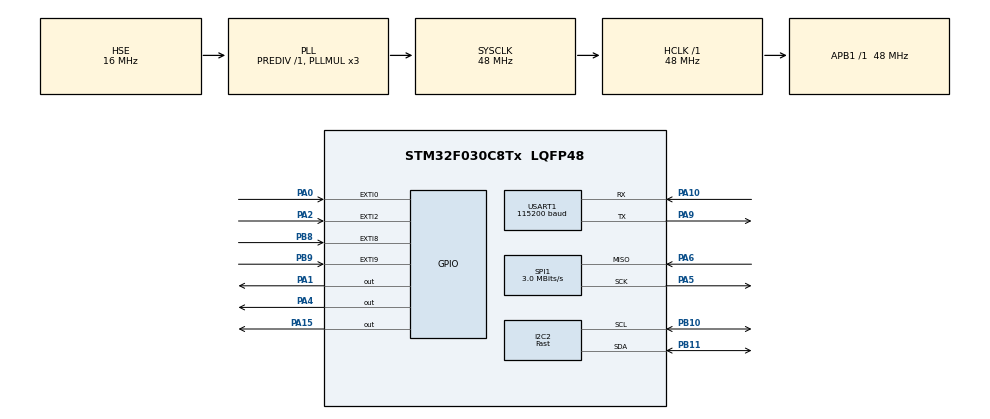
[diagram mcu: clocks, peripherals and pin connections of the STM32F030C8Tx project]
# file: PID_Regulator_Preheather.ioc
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Dma.Request0=USART1_TX
Dma.Request1=USART1_RX
Dma.USART1_RX.1.Direction=DMA_PERIPH_TO_MEMORY
Dma.USART1_RX.1.Instance=DMA1_Channel3
Dma.USART1_RX.1.MemDataAlignment=DMA_MDATAALIGN_BYTE
Dma.USART1_RX.1.MemInc=DMA_MINC_ENABLE
Dma.USART1_RX.1.Mode=DMA_NORMAL
Dma.USART1_RX.1.PeriphDataAlignment=DMA_PDATAALIGN_BYTE
Dma.USART1_RX.1.PeriphInc=DMA_PINC_DISABLE
Dma.USART1_RX.1.Priority=DMA_PRIORITY_LOW
Dma.USART1_TX.0.Direction=DMA_MEMORY_TO_PERIPH
Dma.USART1_TX.0.Instance=DMA1_Channel2
Dma.USART1_TX.0.MemDataAlignment=DMA_MDATAALIGN_BYTE
Dma.USART1_TX.0.MemInc=DMA_MINC_ENABLE
Dma.USART1_TX.0.Mode=DMA_NORMAL
Dma.USART1_TX.0.PeriphDataAlignment=DMA_PDATAALIGN_BYTE
Dma.USART1_TX.0.PeriphInc=DMA_PINC_DISABLE
Dma.USART1_TX.0.Priority=DMA_PRIORITY_LOW
I2C2.I2C_Speed_Mode=I2C_Fast
I2C2.Timing=0x0090194B
Mcu.Family=STM32F0
Mcu.Name=STM32F030C8Tx
Mcu.Package=LQFP48
NVIC.DMA1_Channel2_3_IRQn=true\:0\:0\:false\:false\:true\:false\:true\:true
NVIC.EXTI0_1_IRQn=true\:3\:0\:true\:false\:true\:true\:true\:true
NVIC.EXTI2_3_IRQn=true\:3\:0\:true\:false\:true\:true\:true\:true
NVIC.EXTI4_15_IRQn=true\:3\:0\:true\:false\:true\:true\:true\:true
NVIC.TIM1_BRK_UP_TRG_COM_IRQn=true\:2\:0\:true\:false\:true\:true\:true\:true
NVIC.USART1_IRQn=true\:0\:0\:true\:false\:true\:true\:true\:true
PA0.GPIO_ModeDefaultEXTI=GPIO_MODE_IT_RISING_FALLING
PA0.Signal=GPXTI0
PA1.Signal=GPIO_Output
PA10.Mode=Asynchronous
PA10.Signal=USART1_RX
PA13.Mode=Serial_Wire
PA13.Signal=SYS_SWDIO
PA14.Mode=Serial_Wire
PA14.Signal=SYS_SWCLK
PA15.Signal=GPIO_Output
PA2.GPIO_ModeDefaultEXTI=GPIO_MODE_IT_FALLING
PA2.GPIO_PuPd=GPIO_NOPULL
PA2.Signal=GPXTI2
PA4.Signal=GPIO_Output
PA5.Mode=RX_Only_Simplex_Unidirect_Master
PA5.Signal=SPI1_SCK
PA6.Mode=RX_Only_Simplex_Unidirect_Master
PA6.Signal=SPI1_MISO
PA9.Mode=Asynchronous
PA9.Signal=USART1_TX
PB10.Mode=I2C
PB10.Signal=I2C2_SCL
PB11.Mode=I2C
PB11.Signal=I2C2_SDA
PB8.GPIO_ModeDefaultEXTI=GPIO_MODE_IT_FALLING
PB8.Signal=GPXTI8
PB9.GPIO_ModeDefaultEXTI=GPIO_MODE_IT_FALLING
PB9.Signal=GPXTI9
PF0-OSC_IN.Mode=HSE-External-Oscillator
PF0-OSC_IN.Signal=RCC_OSC_IN
PF1-OSC_OUT.Mode=HSE-External-Oscillator
PF1-OSC_OUT.Signal=RCC_OSC_OUT
ProjectManager.HeapSize=0x200
ProjectManager.StackSize=0x400
ProjectManager.TargetToolchain=STM32CubeIDE
RCC.AHBFreq_Value=48000000
RCC.APB1Freq_Value=48000000
RCC.APB1TimFreq_Value=48000000
RCC.HCLKFreq_Value=48000000
RCC.HSE_VALUE=16000000
RCC.PLLMUL=RCC_PLL_MUL3
RCC.PLLSourceVirtual=RCC_PLLSOURCE_HSE
RCC.SYSCLKFreq_VALUE=48000000
RCC.SYSCLKSource=RCC_SYSCLKSOURCE_PLLCLK
SPI1.BaudRatePrescaler=SPI_BAUDRATEPRESCALER_16
SPI1.CalculateBaudRate=3.0 MBits/s
SPI1.DataSize=SPI_DATASIZE_8BIT
SPI1.Direction=SPI_DIRECTION_2LINES_RXONLY
SPI1.Mode=SPI_MODE_MASTER
SPI1.VirtualType=VM_MASTER
TIM1.AutoReloadPreload=TIM_AUTORELOAD_PRELOAD_ENABLE
TIM1.CounterMode=TIM_COUNTERMODE_UP
TIM1.Period=4799
USART1.BaudRate=115200
USART1.VirtualMode-Asynchronous=VM_ASYNC
VP_TIM1_VS_ClockSourceINT.Mode=Internal
board=custom

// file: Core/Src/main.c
/* USER CODE BEGIN Header */
/**
 ******************************************************************************
 * @file           : main.c
 * @brief          : Main program body
 ******************************************************************************
 * @attention
 *
 * Copyright (c) 2025 STMicroelectronics.
 * All rights reserved.
 *
 * This software is licensed under terms that can be found in the LICENSE file
 * in the root directory of this software component.
 * If no LICENSE file comes with this software, it is provided AS-IS.
 *
 ******************************************************************************
 */
/* USER CODE END Header */
#include "main.h"

/* USER CODE BEGIN Includes */
#include "MAX31855.h"
#include "stdio.h"
#include "ssd1306.h"
#include "ssd1306_fonts.h"
#include <stdbool.h>
#include <string.h>
#include <math.h>
/* USER CODE END Includes */

I2C_HandleTypeDef hi2c2;

SPI_HandleTypeDef hspi1;

TIM_HandleTypeDef htim1;

UART_HandleTypeDef huart1;
DMA_HandleTypeDef hdma_usart1_tx;
DMA_HandleTypeDef hdma_usart1_rx;

/* USER CODE BEGIN PV */
// variables
int pomoc = 0;
int maximum_firing_delay = 99;
/*Later in the code you will se that the maximum delay after the zero detection
 * is 7400. Why? Well, we know that the 220V AC voltage has a frequency of around 50-60HZ so
 * the period is between 20ms and 16ms, depending on the country. We control the firing
 * delay each half period so each 10ms or 8 ms. To amke sure we wont pass thsoe 10ms, I've made tests
 * and the 7400us or 7.4ms was a good value. Measure your frequency and chande that value later */
//////////////////////////////////////////////////////
int firing_delay = 100;
int last_Error = 0;
bool zero_cross_detected = false;
float real_temperature_heater = 0;
float real_temperature_element = 0;
float real_temperature_heater_last = 0;
float real_temperature_element_last = 0;

// Temperature validation limits
#define MIN_VALID_TEMP -50.0f // Minimum reasonable temperature
#define MAX_VALID_TEMP 500.0f // Maximum reasonable temperature
#define MAX_TEMP_CHANGE 50.0f // Maximum change per reading
uint8_t bad_reading_counter_ht = 0;
uint8_t bad_reading_counter_ic = 0;
#define MAX_BAD_READINGS 5 // Max consecutive bad readings before using anyway

float set_temperature = 99;
float selected_temperature = 0;
int temp_select = 1;
int mode_select = 1;
int menu = 0;
float power = 0;
float power_last = 100;
float pid_output_max = 100.0;
float pid_output_min = 0.0;
float i_term_max = 50.0;
bool button = false;
char temp[10];
int sens_error_HT = 0;
int sens_error_IC = 0;
int sens_error = 0;
int turn_CW_CCW = 0; // 1 left 2 right
int menu_last = 100;
bool sub_menu = false;
int sub_menu_pos = 0;
int sub_menu_pos_last = 100;
int set_temperature_last = 100;
bool temp_set = false;
uint8_t PC_TX[20];
uint8_t PC_RX[20];
bool TX_state = true;
// PID variables
float PID_error = 0;
float previous_error = 0;
float elapsedTime, timePrev, time_stamp, time_stamp_off;
volatile uint32_t Time = 0;
volatile uint32_t uart_time = 0;
volatile uint32_t temp1_time = 0;
volatile uint32_t temp2_time = 0;
int PID_value = 0;
volatile uint8_t set = 0;
// PID constants //TODO do ustawienia
float kp = 4.5;
float ki = 0.0571; // 0.2836; //0.00006598; // 0.6598;
float kd = 0; // 248.85; //54.5985;
int PID_p = 0;
float PID_i = 0;
float PID_d = 0;

/* USER CODE END PV */

void SystemClock_Config(void);
static void MX_GPIO_Init(void);
static void MX_DMA_Init(void);
static void MX_I2C2_Init(void);
static void MX_SPI1_Init(void);
static void MX_TIM1_Init(void);
static void MX_USART1_UART_Init(void);
/* USER CODE BEGIN PFP */
bool IsTemperatureValid(float new_temp,float last_temp);
/* USER CODE END PFP */

/* USER CODE BEGIN 0 */
/**
 * @brief Validates if temperature reading is reasonable
 * @param new_temp New temperature reading
 * @param last_temp Last valid temperature reading
 * @return true if reading is valid, false if suspicious
 */
bool IsTemperatureValid(float new_temp,float last_temp){
	// Check if temperature is within physical limits
	if(new_temp < MIN_VALID_TEMP || new_temp > MAX_VALID_TEMP){
		return false;
	}

	// If we have a previous reading, check for excessive change
	if(last_temp > 0.1f){ // Only check if we have a meaningful previous reading
		float temp_change = fabsf(new_temp - last_temp);
		if(temp_change > MAX_TEMP_CHANGE){
			return false;
		}
	}

	return true;
}
/* USER CODE END 0 */

int main(void){

	/* MCU Configuration--------------------------------------------------------*/

	/* Reset of all peripherals, Initializes the Flash interface and the Systick. */
	HAL_Init();

	/* Configure the system clock */
	SystemClock_Config();

	/* Initialize all configured peripherals */
	MX_GPIO_Init();
	MX_DMA_Init();
	MX_I2C2_Init();
	MX_SPI1_Init();
	MX_TIM1_Init();
	MX_USART1_UART_Init();
	/* USER CODE BEGIN 2 */
	HAL_TIM_Base_Start_IT(&htim1);
	ssd1306_Init();
	ssd1306_SetCursor(30,20);
	ssd1306_WriteString("LOGO",Font_16x26,White);
	ssd1306_UpdateScreen();
	HAL_Delay(1000);
	ssd1306_Fill(Black);
	ssd1306_UpdateScreen();
	HAL_TIM_Base_Start_IT(&htim1);
	HAL_UART_Receive_DMA(&huart1,PC_RX,2);
	/* USER CODE END 2 */

	/* Infinite loop */
	while(1){

		/* USER CODE BEGIN 3 */
		sens_error = 0;

		// Read heater temperature with validation
		float raw_temp_heater = Max31855_Read_Temp(1);
		sens_error_HT = Error;

		if(sens_error_HT == 0){
			if(IsTemperatureValid(raw_temp_heater,real_temperature_heater_last)){
				// Good reading - use it and reset bad counter
				real_temperature_heater = raw_temp_heater;
				bad_reading_counter_ht = 0;
			}
			else{
				// Bad reading - increment counter
				bad_reading_counter_ht++;
				// If too many consecutive bad readings, use it anyway (sensor might have moved to new range)
				if(bad_reading_counter_ht >= MAX_BAD_READINGS){
					real_temperature_heater = raw_temp_heater;
					bad_reading_counter_ht = 0;
				}
				// Otherwise keep using last good reading
			}
		}

		// Read element temperature with validation
		float raw_temp_element = Max31855_Read_Temp(2);
		sens_error_IC = Error;

		if(sens_error_IC == 0){
			if(IsTemperatureValid(raw_temp_element,real_temperature_element_last)){
				// Good reading - use it and reset bad counter
				real_temperature_element = raw_temp_element;
				bad_reading_counter_ic = 0;
			}
			else{
				// Bad reading - increment counter
				bad_reading_counter_ic++;
				// If too many consecutive bad readings, use it anyway
				if(bad_reading_counter_ic >= MAX_BAD_READINGS){
					real_temperature_element = raw_temp_element;
					bad_reading_counter_ic = 0;
				}
				// Otherwise keep using last good reading
			}
		}

		// Determine overall sensor error status
		if(sens_error_HT != 0){
			sens_error = sens_error_HT;
		}
		else{
			sens_error = sens_error_IC;
		}

		if(sens_error == 0 && last_Error != sens_error){
			menu_last = 100;
			ssd1306_Fill(Black);
			ssd1306_UpdateScreen();
			last_Error = sens_error;
		}
		else if(last_Error != sens_error && sens_error != 0){
			switch(sens_error){
				case 1:
					ssd1306_Fill(Black);
					ssd1306_UpdateScreen();
					ssd1306_SetCursor(20,5);
					ssd1306_WriteString("Error",Font_16x26,White);
					ssd1306_SetCursor(5,28);
					if(sens_error_IC != 0){
						ssd1306_WriteString("Sensor IC",Font_11x18,White);
					}
					else if(sens_error_HT != 0){
						ssd1306_WriteString("Sensor HEAT",Font_11x18,White);
					}
					ssd1306_SetCursor(15,48);
					ssd1306_WriteString("NOT CONNECTED",Font_7x10,White);
					ssd1306_UpdateScreen();
				break;
				case 2:
					ssd1306_Fill(Black);
					ssd1306_UpdateScreen();
					ssd1306_SetCursor(20,5);
					ssd1306_WriteString("Error",Font_16x26,White);
					ssd1306_SetCursor(5,28);
					if(sens_error_IC != 0){
						ssd1306_WriteString("Sensor IC",Font_11x18,White);
					}
					else if(sens_error_HT != 0){
						ssd1306_WriteString("Sensor HEAT",Font_11x18,White);
					}
					ssd1306_SetCursor(15,48);
					ssd1306_WriteString("SHORT TO GND",Font_7x10,White);
					ssd1306_UpdateScreen();
				break;
				case 4:
					ssd1306_Fill(Black);
					ssd1306_UpdateScreen();
					ssd1306_SetCursor(20,5);
					ssd1306_WriteString("Error",Font_16x26,White);
					ssd1306_SetCursor(15,28);
					if(sens_error_IC != 0){
						ssd1306_WriteString("Sensor IC",Font_11x18,White);
					}
					else if(sens_error_HT != 0){
						ssd1306_WriteString("Sensor HEAT",Font_11x18,White);
					}
					ssd1306_SetCursor(15,48);
					ssd1306_WriteString("SHORT TO VCC",Font_7x10,White);
					ssd1306_UpdateScreen();
				break;
				default:
				break;
			}
			last_Error = sens_error;
		}

		if(sens_error == 0){
			// Optimize temperature display - only update if values actually changed
			if(real_temperature_element_last != real_temperature_element || real_temperature_heater_last != real_temperature_heater || menu_last == 100) // Force update after error recovery
			{
				// Clear temperature area first to prevent artifacts
				ssd1306_FillRectangle(5,5,128,15,Black);

				ssd1306_SetCursor(5,5);
				ssd1306_WriteString("IC:",Font_7x10,White);
				sprintf(temp,"%.0f%s",real_temperature_element,(temp_select == 2) ? " X":"");
				ssd1306_SetCursor(27,5);
				ssd1306_WriteString(temp,Font_7x10,White);

				ssd1306_SetCursor(70,5);
				ssd1306_WriteString("HT:",Font_7x10,White);
				sprintf(temp,"%.0f%s",real_temperature_heater,(temp_select == 1) ? " X":"");
				ssd1306_SetCursor(92,5);
				ssd1306_WriteString(temp,Font_7x10,White);
				ssd1306_UpdateScreen();

				// Update last values
				real_temperature_element_last = real_temperature_element;
				real_temperature_heater_last = real_temperature_heater;
			}

			if(temp_set == 1){
				if(mode_select == 1){
					if(set_temperature != set_temperature_last){
						ssd1306_FillRectangle(54,15,75,25,Black);
						ssd1306_UpdateScreen();
						ssd1306_SetCursor(5,15);
						ssd1306_WriteString("Set:",Font_7x10,White);
						for(int i = 0; i < 9; i++){
							temp[i] = 0;
						}
						sprintf(temp,"%.0f Auto",set_temperature);
						ssd1306_SetCursor(34,15);
						ssd1306_WriteString(temp,Font_7x10,White);
						ssd1306_UpdateScreen();
					}
				}
				else if(mode_select == 2){
					if(power != power_last){
						ssd1306_FillRectangle(54,15,75,25,Black);
						ssd1306_UpdateScreen();
						ssd1306_SetCursor(5,15);
						ssd1306_WriteString("Set:",Font_7x10,White);
						for(int i = 0; i < 9; i++){
							temp[i] = 0;
						}
						sprintf(temp,"%.0f% Manual",power);
						ssd1306_SetCursor(34,15);
						ssd1306_WriteString(temp,Font_7x10,White);
						ssd1306_UpdateScreen();
					}
				}
			}
			else if(temp_set == 0){
				ssd1306_SetCursor(5,15);
				ssd1306_WriteString("Heater OFF",Font_7x10,White);
				ssd1306_UpdateScreen();
			}
			if(!sub_menu){
				if(turn_CW_CCW == 2){
					menu++;
					if(menu > 3){
						menu = 0;
					}
				}
				else if(turn_CW_CCW == 1){
					menu--;
					if(menu < 0){
						menu = 3;
					}
				}
				turn_CW_CCW = 0;
				if(menu_last != menu){
					switch(menu){
						case 0:
							ssd1306_FillRectangle(5,25,128,64,Black);
							ssd1306_UpdateScreen();
							ssd1306_SetCursor(5,25);
							ssd1306_WriteString("Source",Font_11x18,Black);
							ssd1306_SetCursor(5,45);
							ssd1306_WriteString("MAN/AUTO",Font_11x18,White);
							ssd1306_UpdateScreen();
						break;
						case 1:
							ssd1306_FillRectangle(5,25,128,64,Black);
							ssd1306_UpdateScreen();
							ssd1306_SetCursor(5,25);
							ssd1306_WriteString("MAN/AUTO",Font_11x18,Black);
							ssd1306_SetCursor(5,45);
							if(mode_select == 1){
								ssd1306_WriteString("Temperature",Font_11x18,White);
							}
							else if(mode_select == 2){
								ssd1306_WriteString("Power",Font_11x18,White);
							}
							ssd1306_UpdateScreen();
						break;
						case 2:
							ssd1306_FillRectangle(5,25,128,64,Black);
							ssd1306_UpdateScreen();
							ssd1306_SetCursor(5,25);
							if(mode_select == 1){
								ssd1306_WriteString("Temperature",Font_11x18,Black);
							}
							else if(mode_select == 2){
								ssd1306_WriteString("Power",Font_11x18,Black);
							}
							ssd1306_SetCursor(5,45);
							ssd1306_WriteString("Heat ON/OFF",Font_11x18,White);
							ssd1306_UpdateScreen();
						break;
						case 3:
							ssd1306_FillRectangle(5,25,128,64,Black);
							ssd1306_UpdateScreen();
							ssd1306_SetCursor(5,25);
							ssd1306_WriteString("Heat ON/OFF",Font_11x18,Black);
							ssd1306_SetCursor(5,45);
							ssd1306_WriteString("Source",Font_11x18,White);
							ssd1306_UpdateScreen();
						break;
						default:

						break;
					}
					menu_last = menu;
				}
				if(button == true){
					sub_menu = true;
					button = false;
				}
			}

			if(sub_menu){
				if(menu != 2){
					if(turn_CW_CCW == 2){
						sub_menu_pos++;
						if(sub_menu_pos > 1){
							sub_menu_pos = 0;
						}
					}
					else if(turn_CW_CCW == 1){
						sub_menu_pos--;
						if(sub_menu_pos < 0){
							sub_menu_pos = 1;
						}
					}
					turn_CW_CCW = 0;
				}
				if(sub_menu_pos_last != sub_menu_pos || set_temperature != set_temperature_last || (mode_select == 2 && power != power_last)){
					switch(menu){
						case 0:
							switch(sub_menu_pos){
								case 0:
									ssd1306_FillRectangle(5,25,128,64,Black);
									ssd1306_UpdateScreen();
									ssd1306_SetCursor(5,25);
									ssd1306_WriteString("Element",Font_11x18,Black);
									ssd1306_SetCursor(5,45);
									ssd1306_WriteString("Heater",Font_11x18,White);
									ssd1306_UpdateScreen();
								break;
								case 1:
									ssd1306_FillRectangle(5,25,128,64,Black);
									ssd1306_UpdateScreen();
									ssd1306_SetCursor(5,25);
									ssd1306_WriteString("Heater",Font_11x18,Black);
									ssd1306_SetCursor(5,45);
									ssd1306_WriteString("Element",Font_11x18,White);
									ssd1306_UpdateScreen();
								break;
								default:
								break;
							}
						break;
						case 1:
							switch(sub_menu_pos){
								case 0:
									ssd1306_FillRectangle(5,25,128,64,Black);
									ssd1306_UpdateScreen();
									ssd1306_SetCursor(5,25);
									ssd1306_WriteString("Manual",Font_11x18,Black);
									ssd1306_SetCursor(5,45);
									ssd1306_WriteString("Auto",Font_11x18,White);
									ssd1306_UpdateScreen();
								break;
								case 1:
									ssd1306_FillRectangle(5,25,128,64,Black);
									ssd1306_UpdateScreen();
									ssd1306_SetCursor(5,25);
									ssd1306_WriteString("Auto",Font_11x18,Black);
									ssd1306_SetCursor(5,45);
									ssd1306_WriteString("Manual",Font_11x18,White);
									ssd1306_UpdateScreen();
								break;
								default:
								break;
							}
						break;
						case 2:

							ssd1306_FillRectangle(5,25,128,64,Black);
							ssd1306_UpdateScreen();
							for(int i = 0; i < 9; i++){
								temp[i] = 0;
							}
							if(mode_select == 1){
								sprintf(temp,"%.0f  ",set_temperature);
								ssd1306_SetCursor(5,25);
								ssd1306_WriteString("Temp",Font_11x18,White);
								ssd1306_SetCursor(5,45);
								if(set_temperature < 100){
									ssd1306_WriteString("Off",Font_11x18,White);
								}
								else if(set_temperature >= 100){
									ssd1306_WriteString(temp,Font_11x18,Black);
								}
							}
							else if(mode_select == 2){
								sprintf(temp,"%.0f",power);
								ssd1306_SetCursor(5,25);
								ssd1306_WriteString("Power",Font_11x18,White);
								ssd1306_SetCursor(5,45);
								if(power <= 0){
									ssd1306_WriteString("Off",Font_11x18,White);
								}
								else if(power > 0){
									ssd1306_WriteString(temp,Font_11x18,Black);
								}
							}
							ssd1306_UpdateScreen();

						break;
						case 3:
							switch(sub_menu_pos){
								case 0:
									ssd1306_FillRectangle(5,25,128,64,Black);
									ssd1306_UpdateScreen();
									ssd1306_SetCursor(5,25);
									ssd1306_WriteString("Turn off?",Font_11x18,White);
									ssd1306_SetCursor(5,45);
									ssd1306_WriteString("Yes",Font_11x18,Black);
									ssd1306_UpdateScreen();
								break;
								case 1:
									ssd1306_FillRectangle(5,25,128,64,Black);
									ssd1306_UpdateScreen();
									ssd1306_SetCursor(5,25);
									ssd1306_WriteString("Turn off?",Font_11x18,White);
									ssd1306_SetCursor(5,45);
									ssd1306_WriteString("No",Font_11x18,Black);
									ssd1306_UpdateScreen();
								break;
								default:
								break;
							}
						break;
						default:

						break;
					}
					sub_menu_pos_last = sub_menu_pos;
					set_temperature_last = set_temperature;
					power_last = power;
				}
				if(menu == 2){
					if(mode_select == 1){
						if(turn_CW_CCW == 2){
							set_temperature++;
							if(set_temperature >= 400){
								set_temperature = 400;
							}
						}
						else if(turn_CW_CCW == 1){
							set_temperature--;
							if(set_temperature <= 99){
								set_temperature = 99;
							}
						}
						turn_CW_CCW = 0;
					}
					if(mode_select == 2){
						if(turn_CW_CCW == 2){
							power = power + 10;
							if(power >= 100){
								power = 100;
							}
						}
						else if(turn_CW_CCW == 1){
							power = power - 10;
							if(power <= 0){
								power = 0;
							}
						}
						turn_CW_CCW = 0;
					}
				}
				if(button == true){
					sub_menu = false;
					button = false;
					switch(menu){
						case 0:
							switch(sub_menu_pos){
								case 0:
									temp_select = 2;
								break;
								case 1:
									temp_select = 1;
								break;
								default:
								break;
							}
						break;
						case 1:
							switch(sub_menu_pos){
								case 0:
									mode_select = 2;
								break;
								case 1:
									mode_select = 1;
								break;
								default:
								break;
							}
						break;
						case 2:
							if(mode_select == 1){
								if(set_temperature >= 100){
									temp_set = true;
								}
								else if(set_temperature <= 99){
									temp_set = false;
									PID_value = 0;
									power = 0;
									HAL_GPIO_WritePin(GPIOA,GPIO_PIN_1,GPIO_PIN_RESET);
								}
							}
							else if(mode_select == 2){
								if(power > 0){
									temp_set = true;
								}
								else if(power <= 0){
									temp_set = false;
									PID_value = 0;
									power = 0;
									HAL_GPIO_WritePin(GPIOA,GPIO_PIN_1,GPIO_PIN_RESET);
								}
							}
						break;
						case 3:
							switch(sub_menu_pos){
								case 0:
									temp_set = false;
									set_temperature = 99;
									PID_value = 0;
									power = 0;
									HAL_GPIO_WritePin(GPIOA,GPIO_PIN_1,GPIO_PIN_RESET);
								break;
								case 1:

								break;
								default:
								break;
							}

						break;
					}
					menu_last = 100;
					sub_menu_pos_last = 100;
					set_temperature_last = 100;
					power_last = 100;
				}
			}
		}
		if(temp_select == 1){
			selected_temperature = real_temperature_heater;
		}
		else if(temp_select == 2){
			selected_temperature = real_temperature_element;
		}
		if(PC_RX[1] == 49){
			temp_set = false;
			set_temperature = 99;
			PID_value = 0;
			power = 0;
			set = 0; // Reset timer state
			HAL_GPIO_WritePin(GPIOA,GPIO_PIN_1,GPIO_PIN_RESET);
		}

		if(temp_set){
			if(mode_select == 1){
				// PID calculations
				PID_error = set_temperature - selected_temperature;
				elapsedTime = (float)(Time - timePrev) / 10000.0f;
				timePrev = Time;

				PID_p = kp * PID_error;

				PID_i += ki * PID_error * elapsedTime;
				if(PID_i > i_term_max)
					PID_i = i_term_max;
				if(PID_i < -i_term_max)
					PID_i = -i_term_max;

				PID_d = (elapsedTime > 0) ? kd * ((PID_error - previous_error) / elapsedTime):0;
				previous_error = PID_error;

				power = PID_p + PID_i + PID_d;
				if(power > pid_output_max)
					power = pid_output_max;
				if(power < pid_output_min)
					power = pid_output_min;
			}

			// Convert power to firing delay
			PID_value = (int)(maximum_firing_delay * (power / 100.0));
			if(PID_value < 0)
				PID_value = 0;
			if(PID_value > maximum_firing_delay)
				PID_value = maximum_firing_delay;
		}
		else{
			// Ensure heater is off when not set
			PID_value = 0;
			//power = 0;
			set = 0; // Reset timer state
			HAL_GPIO_WritePin(GPIOA,GPIO_PIN_1,GPIO_PIN_RESET);
		}

		// Optimized UART transmission
		if((uint32_t)Time - uart_time >= 500){
			snprintf((char*)PC_TX,sizeof(PC_TX),"%.0f,%.0f,%d,%d,%.0f\n",real_temperature_element,real_temperature_heater,sens_error_IC,sens_error_HT,power);
			uart_time = Time;
			if(TX_state){
				HAL_UART_Transmit_DMA(&huart1,PC_TX,(uint16_t)strlen((char*)PC_TX));
				TX_state = false;
			}
		}
	}
	/* USER CODE END 3 */
}

void SystemClock_Config(void){
	RCC_OscInitTypeDef RCC_OscInitStruct = { 0 };
	RCC_ClkInitTypeDef RCC_ClkInitStruct = { 0 };
	RCC_PeriphCLKInitTypeDef PeriphClkInit = { 0 };

	/** Initializes the RCC Oscillators according to the specified parameters
	 * in the RCC_OscInitTypeDef structure.
	 */
	RCC_OscInitStruct.OscillatorType = RCC_OSCILLATORTYPE_HSE;
	RCC_OscInitStruct.HSEState = RCC_HSE_ON;
	RCC_OscInitStruct.PLL.PLLState = RCC_PLL_ON;
	RCC_OscInitStruct.PLL.PLLSource = RCC_PLLSOURCE_HSE;
	RCC_OscInitStruct.PLL.PLLMUL = RCC_PLL_MUL3;
	RCC_OscInitStruct.PLL.PREDIV = RCC_PREDIV_DIV1;
	if(HAL_RCC_OscConfig(&RCC_OscInitStruct) != HAL_OK){
		Error_Handler();
	}

	/** Initializes the CPU, AHB and APB buses clocks
	 */
	RCC_ClkInitStruct.ClockType = RCC_CLOCKTYPE_HCLK | RCC_CLOCKTYPE_SYSCLK | RCC_CLOCKTYPE_PCLK1;
	RCC_ClkInitStruct.SYSCLKSource = RCC_SYSCLKSOURCE_PLLCLK;
	RCC_ClkInitStruct.AHBCLKDivider = RCC_SYSCLK_DIV1;
	RCC_ClkInitStruct.APB1CLKDivider = RCC_HCLK_DIV1;

	if(HAL_RCC_ClockConfig(&RCC_ClkInitStruct,FLASH_LATENCY_1) != HAL_OK){
		Error_Handler();
	}
	PeriphClkInit.PeriphClockSelection = RCC_PERIPHCLK_USART1;
	PeriphClkInit.Usart1ClockSelection = RCC_USART1CLKSOURCE_PCLK1;
	if(HAL_RCCEx_PeriphCLKConfig(&PeriphClkInit) != HAL_OK){
		Error_Handler();
	}
}

static void MX_I2C2_Init(void){

	hi2c2.Instance = I2C2;
	hi2c2.Init.Timing = 0x0090194B;
	hi2c2.Init.OwnAddress1 = 0;
	hi2c2.Init.AddressingMode = I2C_ADDRESSINGMODE_7BIT;
	hi2c2.Init.DualAddressMode = I2C_DUALADDRESS_DISABLE;
	hi2c2.Init.OwnAddress2 = 0;
	hi2c2.Init.OwnAddress2Masks = I2C_OA2_NOMASK;
	hi2c2.Init.GeneralCallMode = I2C_GENERALCALL_DISABLE;
	hi2c2.Init.NoStretchMode = I2C_NOSTRETCH_DISABLE;
	if(HAL_I2C_Init(&hi2c2) != HAL_OK){
		Error_Handler();
	}

	/** Configure Analogue filter
	 */
	if(HAL_I2CEx_ConfigAnalogFilter(&hi2c2,I2C_ANALOGFILTER_ENABLE) != HAL_OK){
		Error_Handler();
	}

	/** Configure Digital filter
	 */
	if(HAL_I2CEx_ConfigDigitalFilter(&hi2c2,0) != HAL_OK){
		Error_Handler();
	}
}

static void MX_SPI1_Init(void){

	/* SPI1 parameter configuration*/
	hspi1.Instance = SPI1;
	hspi1.Init.Mode = SPI_MODE_MASTER;
	hspi1.Init.Direction = SPI_DIRECTION_2LINES_RXONLY;
	hspi1.Init.DataSize = SPI_DATASIZE_8BIT;
	hspi1.Init.CLKPolarity = SPI_POLARITY_LOW;
	hspi1.Init.CLKPhase = SPI_PHASE_1EDGE;
	hspi1.Init.NSS = SPI_NSS_SOFT;
	hspi1.Init.BaudRatePrescaler = SPI_BAUDRATEPRESCALER_16;
	hspi1.Init.FirstBit = SPI_FIRSTBIT_MSB;
	hspi1.Init.TIMode = SPI_TIMODE_DISABLE;
	hspi1.Init.CRCCalculation = SPI_CRCCALCULATION_DISABLE;
	hspi1.Init.CRCPolynomial = 7;
	hspi1.Init.CRCLength = SPI_CRC_LENGTH_DATASIZE;
	hspi1.Init.NSSPMode = SPI_NSS_PULSE_ENABLE;
	if(HAL_SPI_Init(&hspi1) != HAL_OK){
		Error_Handler();
	}
}

static void MX_TIM1_Init(void){

	TIM_ClockConfigTypeDef sClockSourceConfig = { 0 };
	TIM_MasterConfigTypeDef sMasterConfig = { 0 };

	htim1.Instance = TIM1;
	htim1.Init.Prescaler = 0;
	htim1.Init.CounterMode = TIM_COUNTERMODE_UP;
	htim1.Init.Period = 4799;
	htim1.Init.ClockDivision = TIM_CLOCKDIVISION_DIV1;
	htim1.Init.RepetitionCounter = 0;
	htim1.Init.AutoReloadPreload = TIM_AUTORELOAD_PRELOAD_ENABLE;
	if(HAL_TIM_Base_Init(&htim1) != HAL_OK){
		Error_Handler();
	}
	sClockSourceConfig.ClockSource = TIM_CLOCKSOURCE_INTERNAL;
	if(HAL_TIM_ConfigClockSource(&htim1,&sClockSourceConfig) != HAL_OK){
		Error_Handler();
	}
	sMasterConfig.MasterOutputTrigger = TIM_TRGO_RESET;
	sMasterConfig.MasterSlaveMode = TIM_MASTERSLAVEMODE_DISABLE;
	if(HAL_TIMEx_MasterConfigSynchronization(&htim1,&sMasterConfig) != HAL_OK){
		Error_Handler();
	}
}

static void MX_USART1_UART_Init(void){

	huart1.Instance = USART1;
	huart1.Init.BaudRate = 115200;
	huart1.Init.WordLength = UART_WORDLENGTH_8B;
	huart1.Init.StopBits = UART_STOPBITS_1;
	huart1.Init.Parity = UART_PARITY_NONE;
	huart1.Init.Mode = UART_MODE_TX_RX;
	huart1.Init.HwFlowCtl = UART_HWCONTROL_NONE;
	huart1.Init.OverSampling = UART_OVERSAMPLING_16;
	huart1.Init.OneBitSampling = UART_ONE_BIT_SAMPLE_DISABLE;
	huart1.AdvancedInit.AdvFeatureInit = UART_ADVFEATURE_NO_INIT;
	if(HAL_UART_Init(&huart1) != HAL_OK){
		Error_Handler();
	}
}

static void MX_DMA_Init(void){

	/* DMA controller clock enable */
	__HAL_RCC_DMA1_CLK_ENABLE();

	/* DMA interrupt init */
	/* DMA1_Channel2_3_IRQn interrupt configuration */
	HAL_NVIC_SetPriority(DMA1_Channel2_3_IRQn,0,0);
	HAL_NVIC_EnableIRQ(DMA1_Channel2_3_IRQn);
}

static void MX_GPIO_Init(void){
	GPIO_InitTypeDef GPIO_InitStruct = { 0 };

	/* GPIO Ports Clock Enable */
	__HAL_RCC_GPIOF_CLK_ENABLE();
	__HAL_RCC_GPIOA_CLK_ENABLE();
	__HAL_RCC_GPIOB_CLK_ENABLE();

	/*Configure GPIO pin Output Level */
	HAL_GPIO_WritePin(GPIOA,GPIO_PIN_1 | GPIO_PIN_4 | GPIO_PIN_15,GPIO_PIN_RESET);

	/*Configure GPIO pin : PA0 */
	GPIO_InitStruct.Pin = GPIO_PIN_0;
	GPIO_InitStruct.Mode = GPIO_MODE_IT_RISING_FALLING;
	GPIO_InitStruct.Pull = GPIO_NOPULL;
	HAL_GPIO_Init(GPIOA,&GPIO_InitStruct);

	/*Configure GPIO pins : PA1 PA4 PA15 */
	GPIO_InitStruct.Pin = GPIO_PIN_1 | GPIO_PIN_4 | GPIO_PIN_15;
	GPIO_InitStruct.Mode = GPIO_MODE_OUTPUT_PP;
	GPIO_InitStruct.Pull = GPIO_NOPULL;
	GPIO_InitStruct.Speed = GPIO_SPEED_FREQ_LOW;
	HAL_GPIO_Init(GPIOA,&GPIO_InitStruct);

	/*Configure GPIO pin : PA2 */
	GPIO_InitStruct.Pin = GPIO_PIN_2;
	GPIO_InitStruct.Mode = GPIO_MODE_IT_FALLING;
	GPIO_InitStruct.Pull = GPIO_NOPULL;
	HAL_GPIO_Init(GPIOA,&GPIO_InitStruct);

	/*Configure GPIO pins : PB8 PB9 */
	GPIO_InitStruct.Pin = GPIO_PIN_8 | GPIO_PIN_9;
	GPIO_InitStruct.Mode = GPIO_MODE_IT_FALLING;
	GPIO_InitStruct.Pull = GPIO_NOPULL;
	HAL_GPIO_Init(GPIOB,&GPIO_InitStruct);

	/* EXTI interrupt init*/
	HAL_NVIC_SetPriority(EXTI0_1_IRQn,3,0);
	HAL_NVIC_EnableIRQ(EXTI0_1_IRQn);

	HAL_NVIC_SetPriority(EXTI2_3_IRQn,3,0);
	HAL_NVIC_EnableIRQ(EXTI2_3_IRQn);

	HAL_NVIC_SetPriority(EXTI4_15_IRQn,3,0);
	HAL_NVIC_EnableIRQ(EXTI4_15_IRQn);

}

/* USER CODE BEGIN 4 */

void HAL_GPIO_EXTI_Callback(uint16_t GPIO_Pin){
	if(GPIO_Pin == GPIO_PIN_0){
		pomoc = 1;
		if(temp_set){
			if(set == 0){
				set = 1;
				time_stamp = Time;
			}
		}

	}
	else if(GPIO_Pin == GPIO_PIN_2){
		button = true;
		HAL_Delay(10);
	}
	else if(GPIO_Pin == GPIO_PIN_8){
		if(HAL_GPIO_ReadPin(GPIOB,GPIO_PIN_9)){
			turn_CW_CCW = 1;
		}
	}
	else if(GPIO_Pin == GPIO_PIN_9){
		if(HAL_GPIO_ReadPin(GPIOB,GPIO_PIN_8)){
			turn_CW_CCW = 2;
		}
	}
}

void HAL_TIM_PeriodElapsedCallback(TIM_HandleTypeDef *htim){
	Time++;
	pomoc = 0;
	// Handle firing delay timing with proper state management
	if(set == 1){
		// Wait for firing delay, then turn on if PID_value > 0
		if((uint32_t)(Time - time_stamp) >= ((maximum_firing_delay - PID_value) + 10)){
			set = 2;
			time_stamp_off = Time;
			if(PID_value > 0 && temp_set){
				HAL_GPIO_WritePin(GPIOA,GPIO_PIN_1,GPIO_PIN_SET);
			}
		}
	}
	else if(set == 2){
		// Pulse duration - turn off pin after short pulse
		if((uint32_t)(Time - time_stamp_off) >= 1){
			HAL_GPIO_WritePin(GPIOA,GPIO_PIN_1,GPIO_PIN_RESET);
			set = 0; // Reset state for next cycle
		}
	}
}
void HAL_UART_TxCpltCallback(UART_HandleTypeDef *UartHandle){
	TX_state = true;
}

void HAL_UART_RxCpltCallback(UART_HandleTypeDef *huart){
	HAL_UART_Receive_DMA(&huart1,PC_RX,2);
}
/* USER CODE END 4 */

void Error_Handler(void){
	__disable_irq();
	while(1){
	}
}
